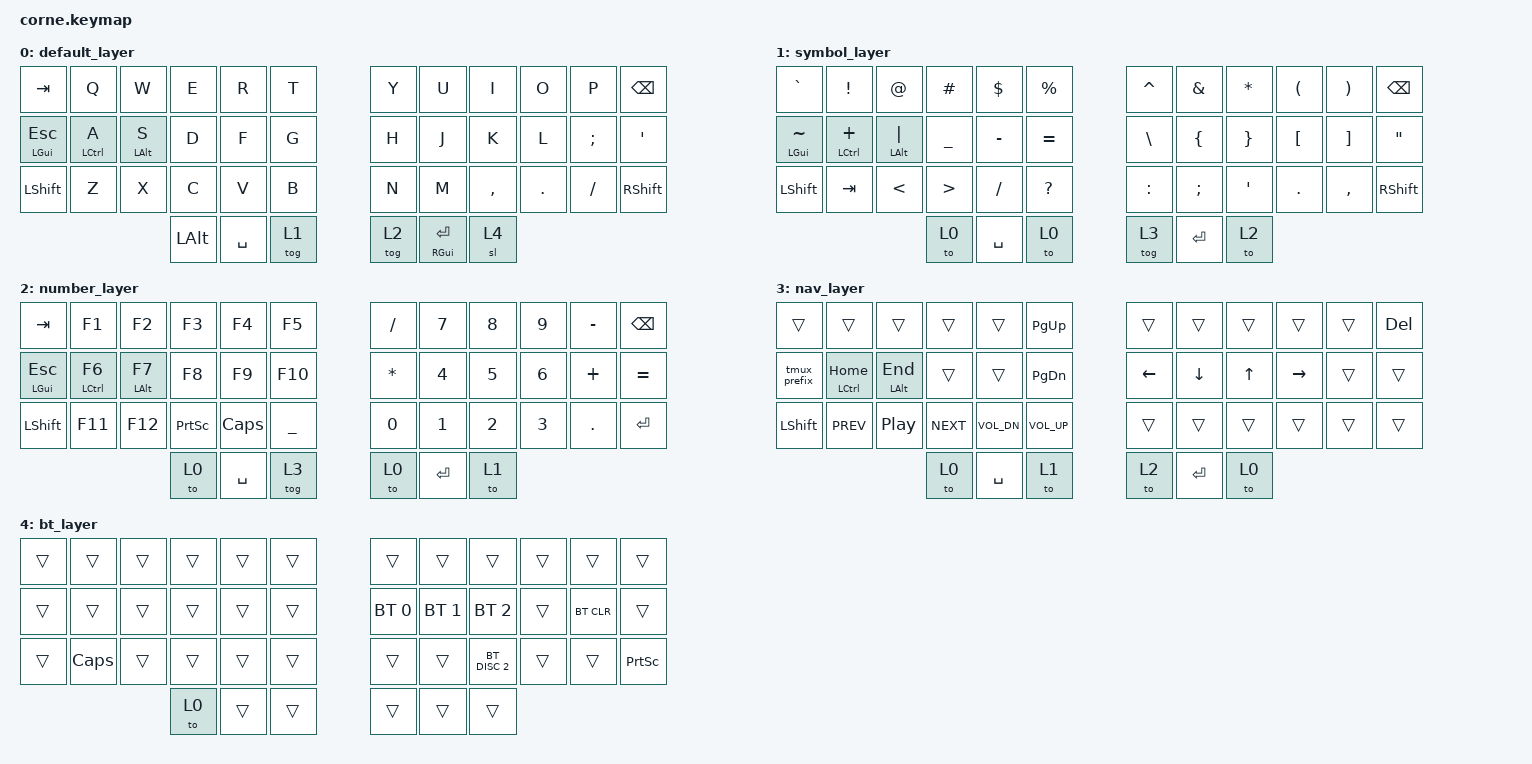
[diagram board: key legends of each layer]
/*
 * Copyright 2024 Michał Minarowski (@n3oney)
 * 
 * Originally created for QMK by Mark Stosberg (@markstos)
 * 
 * SPDX-License-Identifier: GPL-2.0-or-later
 */

#include <behaviors.dtsi>
#include <dt-bindings/zmk/bt.h>
#include <dt-bindings/zmk/keys.h>

/ {
    combos {
        compatible = "zmk,combos";

        combo-go-to-def-layer {
            bindings = <&to 0>;
            key-positions = <38 39>;
            layers = <1 2 3>;
        };
    };

    behaviors {
        hm: homerow_mods {
            compatible = "zmk,behavior-hold-tap";
            #binding-cells = <2>;
            tapping-term-ms = <200>;
            quick-tap-ms = <0>;
            require-prior-idle-ms = <150>;
            flavor = "tap-preferred";
            bindings = <&kp>, <&kp>;
        };
        hs: homerow_shifts {
            compatible = "zmk,behavior-hold-tap";
            #binding-cells = <2>;
            tapping-term-ms = <150>;
            quick-tap-ms = <0>;
            flavor = "balanced";
            bindings = <&kp>, <&kp>;
        };
    };

    macros {
        tmux_prefix: tmux_prefix {
            compatible = "zmk,behavior-macro";
            #binding-cells = <0>;
            bindings = <&macro_press &kp LCTRL>, <&macro_tap &kp B>, <&macro_release &kp LCTRL>;
        };
    };

    keymap {
        compatible = "zmk,keymap";

        default_layer {
            bindings = <
&kp TAB    &kp Q         &kp W        &kp E        &kp R         &kp T        &kp Y  &kp U    &kp I      &kp O    &kp P     &kp BACKSPACE
&hm LGUI ESC    &hm LCTRL A   &hm LALT S   &kp D   &kp F         &kp G        &kp H  &kp J    &kp K      &kp L    &kp SEMI  &kp SINGLE_QUOTE
&kp LSHFT  &kp Z         &kp X        &kp C        &kp V         &kp B        &kp N  &kp M    &kp COMMA  &kp DOT  &kp FSLH  &kp RSHFT
                                       &kp LALT     &kp SPACE     &tog 1       &tog 2 &mt RIGHT_GUI RET  &sl 4
            >;
        };

        symbol_layer {
            bindings = <
&kp GRAVE  &kp EXCL          &kp AT        &kp HASH       &kp DLLR   &kp PRCNT    &kp CARET  &kp AMPS  &kp ASTRK  &kp LPAR  &kp RPAR  &kp BACKSPACE
&hm LGUI TILDE  &hm LCTRL PLUS   &hm LALT PIPE &kp UNDER &kp MINUS  &kp EQUAL    &kp BSLH   &kp LBRC  &kp RBRC   &kp LBKT  &kp RBKT  &kp DQT
&kp LSHFT  &kp TAB           &kp LT        &kp GT         &kp FSLH   &kp QMARK    &kp COLON  &kp SEMI  &kp SQT    &kp DOT   &kp COMMA &kp RSHFT
                                            &to 0          &kp SPACE  &to 0        &tog 3     &kp RET   &to 2
            >;
        };

        number_layer {
            bindings = <
&kp TAB    &kp F1            &kp F2       &kp F3            &kp F4     &kp F5       &kp FSLH   &kp N7  &kp N8  &kp N9  &kp MINUS  &kp BACKSPACE
&hm LGUI ESC    &hm LCTRL F6     &hm LALT F7  &kp F8       &kp F9     &kp F10      &kp ASTRK  &kp N4  &kp N5  &kp N6  &kp PLUS   &kp EQUAL
&kp LSHFT  &kp F11           &kp F12      &kp PRINTSCREEN   &kp CAPS   &kp UNDER    &kp N0     &kp N1  &kp N2  &kp N3  &kp DOT    &kp RET
                                           &to 0             &kp SPACE  &tog 3       &to 0      &kp RET &to 1
            >;
        };

        nav_layer {
            bindings = <
&trans       &trans          &trans       &trans        &trans        &kp PG_UP    &trans    &trans    &trans  &trans     &trans  &kp DEL
&tmux_prefix &hm LCTRL HOME  &hm LALT END &trans       &trans        &kp PG_DN    &kp LEFT  &kp DOWN  &kp UP  &kp RIGHT  &trans  &trans
&kp LSHFT    &kp C_PREV      &kp C_PP     &kp C_NEXT   &kp C_VOL_DN  &kp C_VOL_UP &trans    &trans    &trans  &trans     &trans  &trans
                                           &to 0        &kp SPACE     &to 1        &to 2     &kp RET   &to 0
            >;
        };

        bt_layer {
            bindings = <
&trans  &trans    &trans   &trans  &trans  &trans     &trans         &trans        &trans         &trans  &trans      &trans
&trans  &trans    &trans   &trans  &trans  &trans     &bt BT_SEL 0   &bt BT_SEL 1  &bt BT_SEL 2   &trans  &bt BT_CLR  &trans
&trans  &kp CAPS  &trans   &trans  &trans  &trans     &trans         &trans        &bt BT_DISC 2  &trans  &trans      &kp PRINTSCREEN
                           &to 0   &trans  &trans     &trans         &trans        &trans
            >;
        };
    };
};

